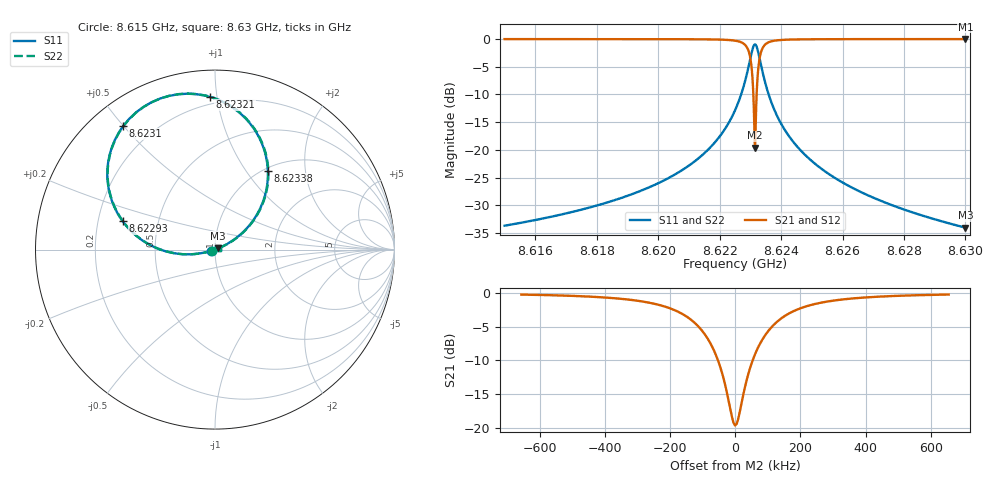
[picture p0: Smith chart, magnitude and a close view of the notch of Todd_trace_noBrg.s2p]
! Sonnet Data File
! From: emgraph Version : 16.52
! From Emgraph Data: 171113transmon_trace_noBrg
! Data File Written: 11/14/2017 18:16:45
!< HDATE 11/14/2017 14:04:27
!< MDATE 11/14/2017 14:04:27
!< PARAMS
!< Lj = 15.24
!< Gap = 14.0
!< Width = 10.0
!< Pwidth = 2000.0
!< END PARAMS
# GHZ S MA R 34.87000
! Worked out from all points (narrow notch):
!   3597 points, 8.615 GHz to 8.63 GHz, reference 34.87 ohm
!   highest |S21| = 0.00 dB at 8.63 GHz (marker M1); lowest = -19.6 dB at 8.62315 GHz (marker M2)
!   notch at M2: 19.6 dB deep, 109 kHz wide at half that depth
!   lowest |S11| = -34.0 dB at 8.63 GHz (marker M3), VSWR 1.04, Z = 36.2 + j0.548 ohm
!   |S11| at or under -10 dB: start of sweep to 8.6227 GHz; 8.623595 GHz to end of sweep
!   |S22| runs from -34.0 to -1.0 dB; largest |S21 - S12| = 6.5e-11
!   S11 on the Smith chart (normalised r, x): 8.615 GHz: 0.96, -0.01; 8.62293 GHz: 0.31, +0.14; 8.6231 GHz: 0.10, +0.50; 8.62321 GHz: 0.15, +0.95; 8.62338 GHz: 1.04, +1.27; 8.63 GHz: 1.04, +0.02
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8.615  0.02068 -162.6  0.9997 -71.4  0.9997 -71.4  0.02068 -160.4
!< P1 F=8.615 Eeff=(5.13377404 -5.6313e-5) Z0=(34.6595714 -9.1612e-5) R=0.0 C=0.0
!< P2 F=8.615 Eeff=(5.13377404 -5.6313e-5) Z0=(34.6595714 -9.1612e-5) R=0.0 C=0.0
8.6175  0.02887 -162.8  0.9995 -71.9  0.9995 -71.9  0.02886 -161.3
8.62  0.05 -163.8  0.9985 -73.1  0.9985 -73.1  0.05 -163.0
8.62155  0.09596 -166.5  0.9943 -75.7  0.9943 -75.7  0.09595 -166.2
8.622085  0.1421 -169.4  0.9875 -78.4  0.9875 -78.4  0.1421 -169.3
8.6225  0.2271 -174.9  0.9678 -83.4  0.9678 -83.4  0.227 -174.9
8.62277  0.365 175.8  0.9144 -91.6  0.9144 -91.6  0.365 175.7
8.622925  0.5379 163.0  0.8023 -102.7  0.8023 -102.7  0.5379 162.8
8.623015  0.6989 148.6  0.6309 -114.1  0.6309 -114.1  0.6988 148.4
8.62306  0.7894 138.1  0.4814 -121.0  0.4814 -121.0  0.7893 137.8
8.6231  0.8579 126.6  0.3041 -124.4  0.3041 -124.4  0.8578 126.3
8.62315  0.8954 110.1  0.1047 -72.2  0.1047 -72.2  0.8953 109.8
8.623205  0.8522 92.1  0.3221 -16.1  0.3221 -16.1  0.8521 91.8
8.623285  0.7002 71.4  0.6282 -26.3  0.6282 -26.3  0.7001 71.1
8.62338  0.5298 56.2  0.8082 -38.4  0.8082 -38.4  0.5298 55.9
8.623545  0.3509 43.0  0.9207 -49.7  0.9207 -49.7  0.3508 42.6
8.6238  0.2234 34.5  0.9686 -57.4  0.9686 -57.4  0.2234 34.0
8.624305  0.1275 28.3  0.9898 -62.9  0.9898 -62.9  0.1275 27.6
8.625  0.07928 25.3  0.9961 -65.7  0.9961 -65.7  0.07927 24.4
8.626075  0.04944 23.6  0.9985 -67.4  0.9985 -67.4  0.04944 22.3
8.6275  0.03255 22.8  0.9993 -68.4  0.9993 -68.4  0.03254 20.9
8.63  0.01986 22.4  0.9997 -69.2  0.9997 -69.2  0.01986 19.5
